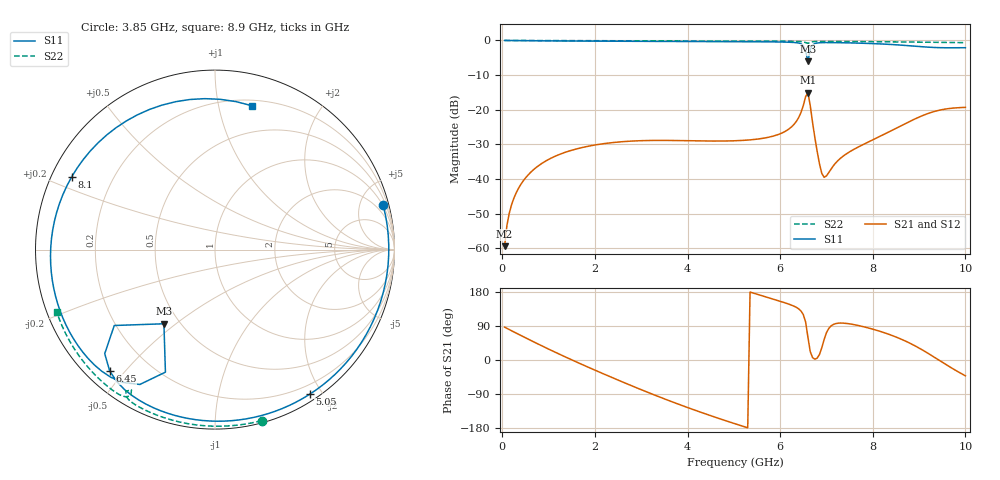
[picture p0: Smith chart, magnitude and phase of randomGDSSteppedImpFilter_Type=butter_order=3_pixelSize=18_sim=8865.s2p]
! freq	dB(S11)	phase(S11)	dB(S12)	phase(S12)
!  dB(S21)	phase(S21)	dB(S22)	phase(S22)
!S-par simulation data
#  GHz  S  DB  R 50
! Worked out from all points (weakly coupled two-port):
!   200 points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, 50 MHz to 10 GHz, reference 50 ohm
!   highest |S21| = -15.12 dB at 6.6 GHz (marker M1); lowest = -59.4 dB at 50 MHz (marker M2)
!   lowest |S11| = -6.0 dB at 6.6 GHz (marker M3), VSWR 3.01, Z = 20.5 - j22.7 ohm
!   |S11| at or under -10 dB: nowhere
!   |S22| runs from -0.8 to 0.0 dB; largest |S21 - S12| = 0
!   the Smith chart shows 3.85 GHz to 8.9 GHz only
!   S11 on the Smith chart (normalised r, x): 3.85 GHz: 0.92, +7.56; 5.05 GHz: 0.08, -1.85; 6.45 GHz: 0.07, -0.45; 8.1 GHz: 0.06, +0.24; 8.9 GHz: 0.25, +1.26
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0.05  -0.01 -5.3  -59.43 86.7  -59.43 86.7  -0.00 -1.0
0.15  -0.02 -15.9  -49.94 80.3  -49.94 80.3  -0.00 -3.1
0.3  -0.04 -31.5  -44.01 70.9  -44.01 70.9  -0.01 -6.1
0.85  -0.11 -87.5  -35.55 37.5  -35.55 37.5  -0.02 -17.3
1.25  -0.15 -126.3  -32.84 14.4  -32.84 14.4  -0.03 -25.3
1.75  -0.19 -172.8  -30.86 -13.3  -30.86 -13.3  -0.05 -35.2
2.15  -0.21 151.2  -29.89 -34.7  -29.89 -34.7  -0.06 -43.0
2.6  -0.23 112.1  -29.24 -58.2  -29.24 -58.2  -0.07 -51.6
3.4  -0.26 47.3  -28.87 -97.8  -28.87 -97.8  -0.09 -66.6
3.85  -0.27 14.8  -28.93 -118.7  -28.93 -118.7  -0.11 -74.7
5.05  -0.33 -56.8  -28.97 -169.2  -28.97 -169.2  -0.15 -95.7
5.85  -0.41 -96.4  -27.63 160.5  -27.63 160.5  -0.20 -109.3
6.45  -0.96 -130.9  -20.81 129.3  -20.81 129.3  -0.32 -120.1
6.55  -3.06 -143.0  -16.23 100.2  -16.23 100.2  -0.61 -122.2
6.6  -5.99 -124.6  -15.12 59.9  -15.12 59.9  -0.83 -120.8
6.7  -1.31 -119.1  -23.71 6.3  -23.71 6.3  -0.37 -121.1
6.95  -0.62 -139.3  -39.53 54.2  -39.53 54.2  -0.27 -126.3
8.1  -0.96 153.1  -28.06 77.8  -28.06 77.8  -0.37 -145.2
8.35  -1.12 133.4  -26.41 67.7  -26.41 67.7  -0.39 -149.3
8.9  -1.64 75.7  -22.74 38.2  -22.74 38.2  -0.47 -158.3
9.45  -2.09 -3.7  -20.11 -1.9  -20.11 -1.9  -0.55 -167.4
10  -2.10 -79.3  -19.33 -41.8  -19.33 -41.8  -0.63 -176.7
